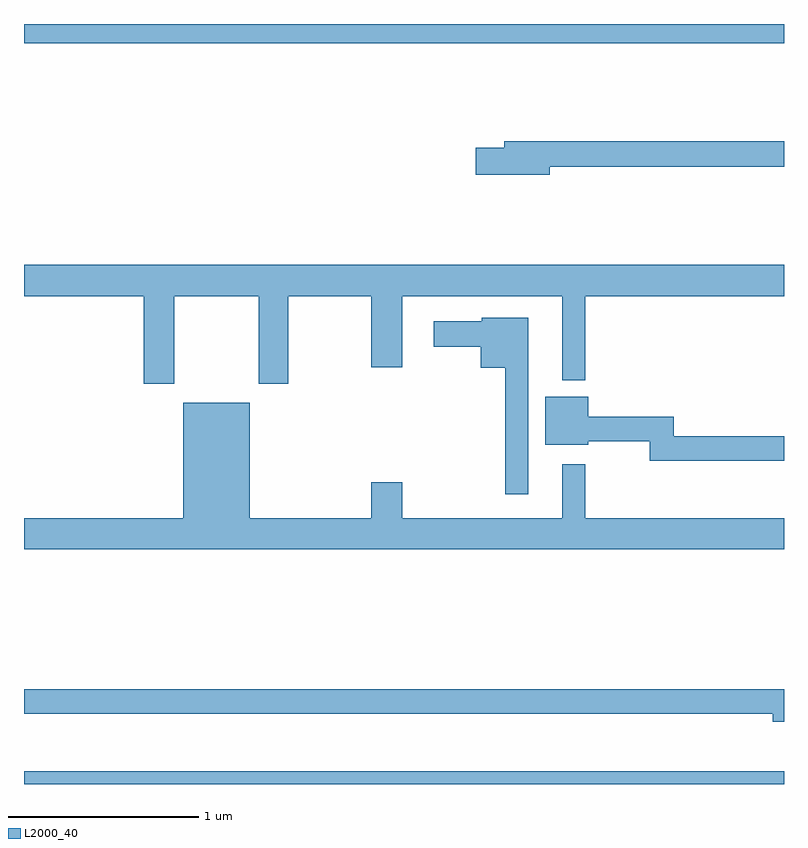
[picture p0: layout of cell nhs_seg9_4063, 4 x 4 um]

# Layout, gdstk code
import gdstk
lib = gdstk.Library(unit=1e-6, precision=1e-09)
def R(c, l, rs):  # rectangles x0, y0, x1, y1
    for r in rs: c.add(gdstk.rectangle(r[:2], r[2:], *l))
def P(c, l, *ps):  # polygons
    for p in ps: c.add(gdstk.Polygon(p, *l))
L2000_40 = (2000, 40)

nhs_seg9_4063 = lib.new_cell('nhs_seg9_4063')
R(nhs_seg9_4063, L2000_40, [(343,1212.5,347,1212.568), (343,1216.4,347,1216.5)])
P(nhs_seg9_4063, L2000_40, [(345.766,1215.748),(347,1215.748),(347,1215.884),(345.527,1215.884),(345.527,1215.848),(345.378,1215.848),(345.378,1215.706),(345.766,1215.706)],
  [(343.791,1215.068),(344.236,1215.068),(344.236,1214.607),(344.391,1214.607),(344.391,1215.068),(344.828,1215.068),(344.828,1214.694),(344.992,1214.694),(344.992,1215.068),(345.833,1215.068),(345.833,1214.624),(345.955,1214.624),(345.955,1215.068),(347,1215.068),(347,1215.232),(343,1215.232),(343,1215.068),(343.631,1215.068),(343.631,1214.607),(343.791,1214.607)],
  [(345.655,1214.953),(345.408,1214.953),(345.408,1214.935),(345.156,1214.935),(345.156,1214.801),(345.404,1214.801),(345.404,1214.69),(345.534,1214.69),(345.534,1214.025),(345.655,1214.025)],
  [(347,1214.33),(346.421,1214.33),(346.421,1214.432),(345.97,1214.432),(345.97,1214.539),(345.743,1214.539),(345.743,1214.285),(345.97,1214.285),(345.97,1214.304),(346.293,1214.304),(346.293,1214.202),(347,1214.202)],
  [(347,1213.9),(345.955,1213.9),(345.955,1214.182),(345.833,1214.182),(345.833,1213.9),(344.992,1213.9),(344.992,1214.089),(344.828,1214.089),(344.828,1213.9),(344.188,1213.9),(344.188,1214.506),(343.838,1214.506),(343.838,1213.9),(343,1213.9),(343,1213.736),(347,1213.736)],
  [(347,1212.998),(343,1212.998),(343,1212.87),(346.94,1212.87),(346.94,1212.827),(347,1212.827)])

lib.write_gds('nhs_seg9_4063.gds')
